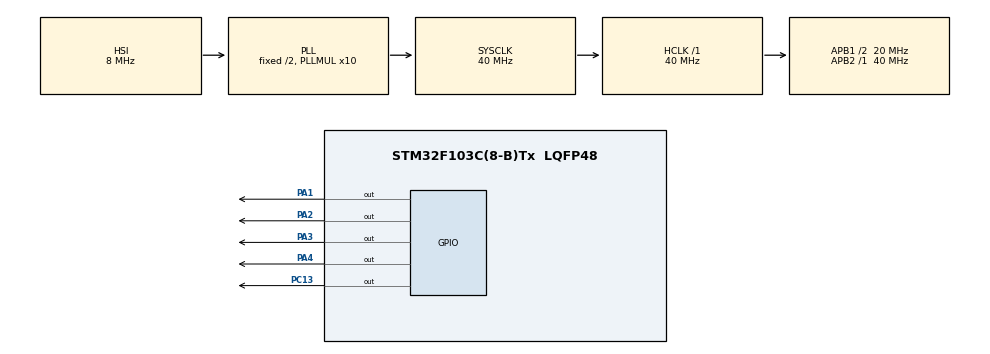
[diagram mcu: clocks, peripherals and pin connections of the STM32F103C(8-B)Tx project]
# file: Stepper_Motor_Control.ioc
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Mcu.Family=STM32F1
Mcu.Name=STM32F103C(8-B)Tx
Mcu.Package=LQFP48
NVIC.PriorityGroup=NVIC_PRIORITYGROUP_4
NVIC.TIM2_IRQn=true\:0\:0\:false\:false\:true\:true\:true\:true
PA1.Signal=GPIO_Output
PA13.Mode=Serial_Wire
PA13.Signal=SYS_JTMS-SWDIO
PA14.Mode=Serial_Wire
PA14.Signal=SYS_JTCK-SWCLK
PA2.Signal=GPIO_Output
PA3.Signal=GPIO_Output
PA4.Signal=GPIO_Output
PC13-TAMPER-RTC.Signal=GPIO_Output
ProjectManager.HeapSize=0x200
ProjectManager.StackSize=0x400
ProjectManager.TargetToolchain=STM32CubeIDE
RCC.AHBFreq_Value=40000000
RCC.APB1CLKDivider=RCC_HCLK_DIV2
RCC.APB1Freq_Value=20000000
RCC.APB1TimFreq_Value=40000000
RCC.APB2Freq_Value=40000000
RCC.APB2TimFreq_Value=40000000
RCC.HCLKFreq_Value=40000000
RCC.PLLMUL=RCC_PLL_MUL10
RCC.SYSCLKFreq_VALUE=40000000
RCC.SYSCLKSource=RCC_SYSCLKSOURCE_PLLCLK
RCC.USBFreq_Value=40000000
TIM2.AutoReloadPreload=TIM_AUTORELOAD_PRELOAD_ENABLE
TIM2.Period=800-1
TIM2.Prescaler=10000-1
VP_TIM2_VS_ClockSourceINT.Mode=Internal
board=custom

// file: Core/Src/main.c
/* USER CODE BEGIN Header */
/**
  ******************************************************************************
  * @file           : main.c
  * @brief          : Main program body
  ******************************************************************************
  * @attention
  *
  * Copyright (c) 2023 STMicroelectronics.
  * All rights reserved.
  *
  * This software is licensed under terms that can be found in the LICENSE file
  * in the root directory of this software component.
  * If no LICENSE file comes with this software, it is provided AS-IS.
  *
  ******************************************************************************
  */
/* USER CODE END Header */
#include "main.h"

/* USER CODE BEGIN Includes */
#define SPR 4096
/* USER CODE END Includes */

TIM_HandleTypeDef htim2;

void SystemClock_Config(void);
static void MX_GPIO_Init(void);
static void MX_TIM2_Init(void);
/* USER CODE BEGIN PFP */
void Delay_Microseconds_DWT(uint32_t delay);
void Half_Drive (int step);
void Step_Angle (float angle, int direction, uint32_t rpm);
void DWT_Init(void);
void HAL_TIM_PeriodElapsedCallback(TIM_HandleTypeDef *htim);
/* USER CODE END PFP */

/* USER CODE BEGIN 0 */
uint32_t counter = 0;
/* USER CODE END 0 */

int main(void)
{

  /* MCU Configuration--------------------------------------------------------*/

  /* Reset of all peripherals, Initializes the Flash interface and the Systick. */
  HAL_Init();

  /* USER CODE BEGIN Init */
  DWT_Init();
  /* USER CODE END Init */

  /* Configure the system clock */
  SystemClock_Config();

  /* Initialize all configured peripherals */
  MX_GPIO_Init();
  MX_TIM2_Init();
  /* USER CODE BEGIN 2 */
  HAL_TIM_Base_Start_IT(&htim2);
  /* USER CODE END 2 */

  /* Infinite loop */
  while (1)
  {

  }
}

void SystemClock_Config(void)
{
  RCC_OscInitTypeDef RCC_OscInitStruct = {0};
  RCC_ClkInitTypeDef RCC_ClkInitStruct = {0};

  /** Initializes the RCC Oscillators according to the specified parameters
  * in the RCC_OscInitTypeDef structure.
  */
  RCC_OscInitStruct.OscillatorType = RCC_OSCILLATORTYPE_HSI;
  RCC_OscInitStruct.HSIState = RCC_HSI_ON;
  RCC_OscInitStruct.HSICalibrationValue = RCC_HSICALIBRATION_DEFAULT;
  RCC_OscInitStruct.PLL.PLLState = RCC_PLL_ON;
  RCC_OscInitStruct.PLL.PLLSource = RCC_PLLSOURCE_HSI_DIV2;
  RCC_OscInitStruct.PLL.PLLMUL = RCC_PLL_MUL10;
  if (HAL_RCC_OscConfig(&RCC_OscInitStruct) != HAL_OK)
  {
    Error_Handler();
  }

  /** Initializes the CPU, AHB and APB buses clocks
  */
  RCC_ClkInitStruct.ClockType = RCC_CLOCKTYPE_HCLK|RCC_CLOCKTYPE_SYSCLK
                              |RCC_CLOCKTYPE_PCLK1|RCC_CLOCKTYPE_PCLK2;
  RCC_ClkInitStruct.SYSCLKSource = RCC_SYSCLKSOURCE_PLLCLK;
  RCC_ClkInitStruct.AHBCLKDivider = RCC_SYSCLK_DIV1;
  RCC_ClkInitStruct.APB1CLKDivider = RCC_HCLK_DIV2;
  RCC_ClkInitStruct.APB2CLKDivider = RCC_HCLK_DIV1;

  if (HAL_RCC_ClockConfig(&RCC_ClkInitStruct, FLASH_LATENCY_1) != HAL_OK)
  {
    Error_Handler();
  }
}

static void MX_TIM2_Init(void)
{

  TIM_ClockConfigTypeDef sClockSourceConfig = {0};
  TIM_MasterConfigTypeDef sMasterConfig = {0};

  htim2.Instance = TIM2;
  htim2.Init.Prescaler = 10000-1;
  htim2.Init.CounterMode = TIM_COUNTERMODE_UP;
  htim2.Init.Period = 800-1;
  htim2.Init.ClockDivision = TIM_CLOCKDIVISION_DIV1;
  htim2.Init.AutoReloadPreload = TIM_AUTORELOAD_PRELOAD_ENABLE;
  if (HAL_TIM_Base_Init(&htim2) != HAL_OK)
  {
    Error_Handler();
  }
  sClockSourceConfig.ClockSource = TIM_CLOCKSOURCE_INTERNAL;
  if (HAL_TIM_ConfigClockSource(&htim2, &sClockSourceConfig) != HAL_OK)
  {
    Error_Handler();
  }
  sMasterConfig.MasterOutputTrigger = TIM_TRGO_RESET;
  sMasterConfig.MasterSlaveMode = TIM_MASTERSLAVEMODE_DISABLE;
  if (HAL_TIMEx_MasterConfigSynchronization(&htim2, &sMasterConfig) != HAL_OK)
  {
    Error_Handler();
  }

}

static void MX_GPIO_Init(void)
{
  GPIO_InitTypeDef GPIO_InitStruct = {0};

  /* GPIO Ports Clock Enable */
  __HAL_RCC_GPIOC_CLK_ENABLE();
  __HAL_RCC_GPIOA_CLK_ENABLE();

  /*Configure GPIO pin Output Level */
  HAL_GPIO_WritePin(GPIOC, GPIO_PIN_13, GPIO_PIN_RESET);

  /*Configure GPIO pin Output Level */
  HAL_GPIO_WritePin(GPIOA, GPIO_PIN_1|GPIO_PIN_2|GPIO_PIN_3|GPIO_PIN_4, GPIO_PIN_RESET);

  /*Configure GPIO pin : PC13 */
  GPIO_InitStruct.Pin = GPIO_PIN_13;
  GPIO_InitStruct.Mode = GPIO_MODE_OUTPUT_PP;
  GPIO_InitStruct.Pull = GPIO_NOPULL;
  GPIO_InitStruct.Speed = GPIO_SPEED_FREQ_LOW;
  HAL_GPIO_Init(GPIOC, &GPIO_InitStruct);

  /*Configure GPIO pins : PA1 PA2 PA3 PA4 */
  GPIO_InitStruct.Pin = GPIO_PIN_1|GPIO_PIN_2|GPIO_PIN_3|GPIO_PIN_4;
  GPIO_InitStruct.Mode = GPIO_MODE_OUTPUT_PP;
  GPIO_InitStruct.Pull = GPIO_NOPULL;
  GPIO_InitStruct.Speed = GPIO_SPEED_FREQ_LOW;
  HAL_GPIO_Init(GPIOA, &GPIO_InitStruct);

}

/* USER CODE BEGIN 4 */
void Delay_Microseconds_DWT(uint32_t delay){
	uint32_t cycles = (HAL_RCC_GetHCLKFreq()/1000000)*delay;
	uint32_t start = DWT->CYCCNT;
	while(DWT->CYCCNT - start < cycles);
}

/*Half_Drive code for a stepper motor*/
void Half_Drive (int step){
	switch (step){
		case 0:
			  HAL_GPIO_WritePin(GPIOA, GPIO_PIN_1, GPIO_PIN_SET);   // IN1
			  HAL_GPIO_WritePin(GPIOA, GPIO_PIN_2, GPIO_PIN_RESET);   // IN2
			  HAL_GPIO_WritePin(GPIOA, GPIO_PIN_3, GPIO_PIN_RESET);   // IN3
			  HAL_GPIO_WritePin(GPIOA, GPIO_PIN_4, GPIO_PIN_RESET);   // IN4
			  break;

		case 1:
			  HAL_GPIO_WritePin(GPIOA, GPIO_PIN_1, GPIO_PIN_SET);   // IN1
			  HAL_GPIO_WritePin(GPIOA, GPIO_PIN_2, GPIO_PIN_SET);   // IN2
			  HAL_GPIO_WritePin(GPIOA, GPIO_PIN_3, GPIO_PIN_RESET);   // IN3
			  HAL_GPIO_WritePin(GPIOA, GPIO_PIN_4, GPIO_PIN_RESET);   // IN4
			  break;

		case 2:
			  HAL_GPIO_WritePin(GPIOA, GPIO_PIN_1, GPIO_PIN_RESET);   // IN1
			  HAL_GPIO_WritePin(GPIOA, GPIO_PIN_2, GPIO_PIN_SET);   // IN2
			  HAL_GPIO_WritePin(GPIOA, GPIO_PIN_3, GPIO_PIN_RESET);   // IN3
			  HAL_GPIO_WritePin(GPIOA, GPIO_PIN_4, GPIO_PIN_RESET);   // IN4
			  break;

		case 3:
			  HAL_GPIO_WritePin(GPIOA, GPIO_PIN_1, GPIO_PIN_RESET);   // IN1
			  HAL_GPIO_WritePin(GPIOA, GPIO_PIN_2, GPIO_PIN_SET);   // IN2
			  HAL_GPIO_WritePin(GPIOA, GPIO_PIN_3, GPIO_PIN_SET);   // IN3
			  HAL_GPIO_WritePin(GPIOA, GPIO_PIN_4, GPIO_PIN_RESET);   // IN4
			  break;

		case 4:
			  HAL_GPIO_WritePin(GPIOA, GPIO_PIN_1, GPIO_PIN_RESET);   // IN1
			  HAL_GPIO_WritePin(GPIOA, GPIO_PIN_2, GPIO_PIN_RESET);   // IN2
			  HAL_GPIO_WritePin(GPIOA, GPIO_PIN_3, GPIO_PIN_SET);   // IN3
			  HAL_GPIO_WritePin(GPIOA, GPIO_PIN_4, GPIO_PIN_RESET);   // IN4
			  break;

		case 5:
			  HAL_GPIO_WritePin(GPIOA, GPIO_PIN_1, GPIO_PIN_RESET);   // IN1
			  HAL_GPIO_WritePin(GPIOA, GPIO_PIN_2, GPIO_PIN_RESET);   // IN2
			  HAL_GPIO_WritePin(GPIOA, GPIO_PIN_3, GPIO_PIN_SET);   // IN3
			  HAL_GPIO_WritePin(GPIOA, GPIO_PIN_4, GPIO_PIN_SET);   // IN4
			  break;

		case 6:
			  HAL_GPIO_WritePin(GPIOA, GPIO_PIN_1, GPIO_PIN_RESET);   // IN1
			  HAL_GPIO_WritePin(GPIOA, GPIO_PIN_2, GPIO_PIN_RESET);   // IN2
			  HAL_GPIO_WritePin(GPIOA, GPIO_PIN_3, GPIO_PIN_RESET);   // IN3
			  HAL_GPIO_WritePin(GPIOA, GPIO_PIN_4, GPIO_PIN_SET);   // IN4
			  break;

		case 7:
			  HAL_GPIO_WritePin(GPIOA, GPIO_PIN_1, GPIO_PIN_SET);   // IN1
			  HAL_GPIO_WritePin(GPIOA, GPIO_PIN_2, GPIO_PIN_RESET);   // IN2
			  HAL_GPIO_WritePin(GPIOA, GPIO_PIN_3, GPIO_PIN_RESET);   // IN3
			  HAL_GPIO_WritePin(GPIOA, GPIO_PIN_4, GPIO_PIN_SET);   // IN4
			  break;

	}
}
/*Setting rpm in microseconds for each step*/
void Set_RPM (uint32_t rpm){
	Delay_Microseconds_DWT(60000000/SPR/rpm);/*Delay for each step*/
}

/*Setting stepper angle*/
void Step_Angle(float angle, int direction, uint32_t rpm)
{
	int total_sequence = (4096/8); //512
	int numberofsequences = (int) (angle*total_sequence)/360; //60degrees ==> 85sequences*8steps

	for (int seq=0; seq<numberofsequences; seq++)
	{
		if (direction == 0)  /*for clockwise direction*/
		{
			for (int step=7; step>=0; step--)
			{
				Half_Drive(step);
				Set_RPM(rpm);
			}

		}

		else if (direction == 1)  /*for anti-clockwise direction*/
		{
			for (int step=0; step<8; step++)
			{
				Half_Drive(step);
				Set_RPM(rpm);
			}
		}
	}
}

void DWT_Init(void){
	DWT->CTRL |= 1;
	DWT->CYCCNT = 0;
}
/*Period elapsed callback function*/
void HAL_TIM_PeriodElapsedCallback(TIM_HandleTypeDef *htim){
	HAL_GPIO_TogglePin(GPIOC, GPIO_PIN_13);
    Step_Angle(90,1,13);
}
/* USER CODE END 4 */

void Error_Handler(void)
{
  __disable_irq();
  while (1)
  {
  }
}
